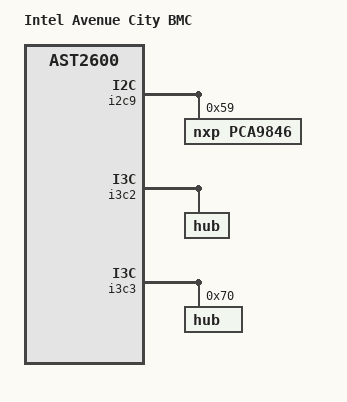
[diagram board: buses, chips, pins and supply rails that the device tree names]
// SPDX-License-Identifier: GPL-2.0+
/dts-v1/;

#include "aspeed-bmc-intel-bhs.dtsi"

/ {
	model = "Intel Avenue City BMC";
	compatible = "intel,avc-bmc", "aspeed,ast2600";
	aliases {
	i2c16 = &i2c9_mux_ch2;
	i2c18 = &i2c9_mux_ch0;
	};
};

&i2c9 {
	/*
	 * WA - fix channel numbers for downstream mux channels
	 */
	pca9846@59 {
		compatible = "nxp,pca9846";
		reg = <0x59>;
		i2c9_mux_ch0: i2c@0 {
			reg = <0>;
		};
		i2c9_mux_ch2: i2c@2 {
			reg = <2>;
		};
	};
};

&i3c2 {
	/* I3C_MNG_LVC18 */

	hub@0,0 {
		cp0-ldo = "disabled";
		cp1-ldo = "disabled";
		tp0145-ldo = "disabled";
		tp2367-ldo = "disabled";
		tp0145-pullup = "2k";
		tp2367-pullup = "2k";
		tp0145-io-strength = "50Ohms";
		tp2367-io-strength = "50Ohms";

		target-port@0 {
			mode = "i3c";
			pullup = "enabled";
		};
		target-port@1 {
			mode = "disabled";
			pullup = "enabled";
		};
		target-port@2 {
			mode = "i3c";
			pullup = "enabled";
		};
		target-port@3 {
			mode = "disabled";
			pullup = "enabled";
		};
		target-port@4 {
			mode = "disabled";
			pullup = "enabled";
		};
		target-port@5 {
			mode = "disabled";
			pullup = "enabled";
		};
		target-port@6 {
			mode = "disabled";
			pullup = "enabled";
		};
		target-port@7 {
			mode = "disabled";
			pullup = "enabled";
		};
	};
};

&i3c3 {
	/* I3C_SPD_BMC */
	i3c-scl-hz = <9090000>;
	i3c-pp-scl-high-ns = <50>;

	/* Renesas RG3MxxB12A0 */
	hub@70,3C000000100 {
		reg = <0x70 0x3C0 0x00000100>;
		assigned-address = <0x70>;
		dcr = <0xC2>;

		cp0-ldo = "disabled";
		cp1-ldo = "disabled";
		tp0145-ldo = "disabled";
		tp2367-ldo = "disabled";
		tp0145-pullup = "2k";
		tp2367-pullup = "2k";

		target-port@0 {
			mode = "i3c";
			pullup = "enabled";
		};
		target-port@1 {
			mode = "i3c";
			pullup = "enabled";
		};
		target-port@2 {
			mode = "i3c";
			pullup = "enabled";
		};
		target-port@3 {
			mode = "i3c";
			pullup = "enabled";
		};
		target-port@4 {
			mode = "i3c";
			pullup = "enabled";
		};
		target-port@5 {
			mode = "i3c";
			pullup = "enabled";
		};
		target-port@6 {
			mode = "i3c";
			pullup = "enabled";
		};
		target-port@7 {
			mode = "i3c";
			pullup = "enabled";
		};

		i3c0@01 {
			jdec-spd;
			/* Renesas SPD5118 */
			spd@50,3C000000000 {
				assigned-address = <0x50>;
				reg = <0x50 0x3C0 0x00000000>;
			};
			/* Renesas SPD5118 */
			spd@52,3C000000001 {
				assigned-address = <0x52>;
				reg = <0x52 0x3C0 0x00000001>;
			};
			/* Renesas SPD5118 */
			spd@54,3C000000002 {
				assigned-address = <0x54>;
				reg = <0x54 0x3C0 0x00000002>;
			};
		};
		i3c1@02 {
			jdec-spd;
			/* Renesas SPD5118 */
			spd@50,3C000000000 {
				assigned-address = <0x50>;
				reg = <0x50 0x3C0 0x00000000>;
			};
			/* Renesas SPD5118 */
			spd@52,3C000000001 {
				assigned-address = <0x52>;
				reg = <0x52 0x3C0 0x00000001>;
			};
			/* Renesas SPD5118 */
			spd@54,3C000000002 {
				assigned-address = <0x54>;
				reg = <0x54 0x3C0 0x00000002>;
			};
		};
		i3c2@10 {
			jdec-spd;
			/* Renesas SPD5118 */
			spd@50,3C000000000 {
				assigned-address = <0x50>;
				reg = <0x50 0x3C0 0x00000000>;
			};
			/* Renesas SPD5118 */
			spd@52,3C000000001 {
				assigned-address = <0x52>;
				reg = <0x52 0x3C0 0x00000001>;
			};
			/* Renesas SPD5118 */
			spd@54,3C000000002 {
				assigned-address = <0x54>;
				reg = <0x54 0x3C0 0x00000002>;
			};
		};
		i3c3@20 {
			jdec-spd;
			/* Renesas SPD5118 */
			spd@50,3C000000000 {
				assigned-address = <0x50>;
				reg = <0x50 0x3C0 0x00000000>;
			};
			/* Renesas SPD5118 */
			spd@52,3C000000001 {
				assigned-address = <0x52>;
				reg = <0x52 0x3C0 0x00000001>;
			};
			/* Renesas SPD5118 */
			spd@54,3C000000002 {
				assigned-address = <0x54>;
				reg = <0x54 0x3C0 0x00000002>;
			};
		};
		i3c4@04 {
			jdec-spd;
			/* Renesas SPD5118 */
			spd@50,3C000000000 {
				assigned-address = <0x50>;
				reg = <0x50 0x3C0 0x00000000>;
			};
			/* Renesas SPD5118 */
			spd@52,3C000000001 {
				assigned-address = <0x52>;
				reg = <0x52 0x3C0 0x00000001>;
			};
			/* Renesas SPD5118 */
			spd@54,3C000000002 {
				assigned-address = <0x54>;
				reg = <0x54 0x3C0 0x00000002>;
			};
		};
		i3c5@08 {
			jdec-spd;
			/* Renesas SPD5118 */
			spd@50,3C000000000 {
				assigned-address = <0x50>;
				reg = <0x50 0x3C0 0x00000000>;
			};
			/* Renesas SPD5118 */
			spd@52,3C000000001 {
				assigned-address = <0x52>;
				reg = <0x52 0x3C0 0x00000001>;
			};
			/* Renesas SPD5118 */
			spd@54,3C000000002 {
				assigned-address = <0x54>;
				reg = <0x54 0x3C0 0x00000002>;
			};
		};
		i3c6@40 {
			jdec-spd;
			/* Renesas SPD5118 */
			spd@50,3C000000000 {
				assigned-address = <0x50>;
				reg = <0x50 0x3C0 0x00000000>;
			};
			/* Renesas SPD5118 */
			spd@52,3C000000001 {
				assigned-address = <0x52>;
				reg = <0x52 0x3C0 0x00000001>;
			};
			/* Renesas SPD5118 */
			spd@54,3C000000002 {
				assigned-address = <0x54>;
				reg = <0x54 0x3C0 0x00000002>;
			};
		};
		i3c7@80 {
			jdec-spd;
			/* Renesas SPD5118 */
			spd@50,3C000000000 {
				assigned-address = <0x50>;
				reg = <0x50 0x3C0 0x00000000>;
			};
			/* Renesas SPD5118 */
			spd@52,3C000000001 {
				assigned-address = <0x52>;
				reg = <0x52 0x3C0 0x00000001>;
			};
			/* Renesas SPD5118 */
			spd@54,3C000000002 {
				assigned-address = <0x54>;
				reg = <0x54 0x3C0 0x00000002>;
			};
		};
	};
};
